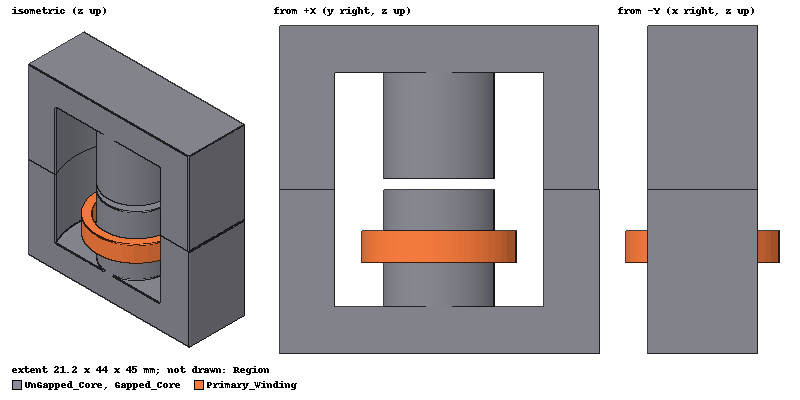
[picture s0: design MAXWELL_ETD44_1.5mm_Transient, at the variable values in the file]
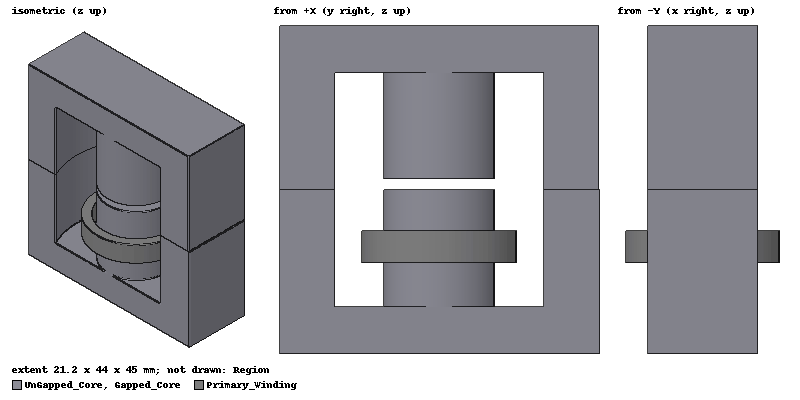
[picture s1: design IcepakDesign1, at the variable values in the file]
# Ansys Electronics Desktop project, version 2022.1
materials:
  copper: permeability=0.999991 conductivity=58000000 thermal_conductivity=400 mass_density=8933 specific_heat=385 youngs_modulus=120000000000 poissons_ratio=0.38 thermal_expansion_coefficient=1.77e-05
  ferrite_N87_ETD44: permittivity=12 permeability=1650 conductivity=0.01 thermal_conductivity=4 mass_density=4600 specific_heat=750 youngs_modulus=119000000000 thermal_expansion_coefficient=1e-05
  vacuum: permittivity=1
  Ferrite_N87_ETD45_Coreloss: permittivity=12 permeability=1650 conductivity=0.01 thermal_conductivity=4 core_loss_type="B-P Curve" mass_density=4600 specific_heat=750 youngs_modulus=119000000000 thermal_expansion_coefficient=1e-05 core_loss_equiv_cut_depth=0.001meter core_loss_curves{PUnit=kw/m^3 BUnit=mTesla Frequency=100kHz Thickness=0.5mm BPCoordinates{DimUnits("", "") Points(0, 0, 30, 2, 40, 4, 50, 8, 60, 15, 70, 20, 80, 30, 90, 40, 100, 50, 200, 300)}}
  Al-Extruded: thermal_conductivity=205 mass_density=2800 specific_heat=900 youngs_modulus=69000000000 poissons_ratio=0.33 thermal_expansion_coefficient=2.277e-06 thermal_material_type=Solid
  air: permittivity=1.0006 permeability=1.0000004 thermal_conductivity=0.0261 mass_density=1.1614 specific_heat=1005 thermal_expansion_coefficient=0.00333 thermal_material_type=Fluid diffusivity=2.88e-05 molecular_mass=0.028966 viscosity=1.84e-05 material_refractive_index=1.000293
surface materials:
  Steel-oxidised-surface: surface_emissivity=0.8

design MAXWELL_ETD44_1.5mm_Transient (Maxwell 3D, EddyCurrent, model units mm)
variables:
  gap = 0mm
  air_gap = 1.5mm
  coil_current = 276A
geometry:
  Core_A = box(corner=(0mm, 0mm, 0mm), size=(15.2mm, 44mm, 22.5mm))
  Cylinder1 = cylinder(axis=Z, base_centre=(7.6mm, 21.9mm, 6.4mm), radius=16.25mm, height=16.1mm)
  Core_A.subtract(Cylinder1)
  UnGapped_Core [Ferrite_N87_ETD45_Coreloss] = cylinder(axis=Z, base_centre=(7.6mm, 21.9mm, 0mm), radius=7.6mm, height=22.5mm)
  UnGapped_Core.unite(Core_A)
  Gapped_Core [Ferrite_N87_ETD45_Coreloss] = box(corner=(0mm, 0mm, 45mm), size=(15.2mm, 43.8mm, -22.5mm))
  Cylinder2 = cylinder(axis=Z, base_centre=(7.6mm, 21.9mm, 22.5mm), radius=16.25mm, height=16.1mm)
  Gapped_Core.subtract(Cylinder2)
  Cylinder3 = cylinder(axis=Z, base_centre=(7.6mm, 21.9mm, 45mm), radius=7.6mm, height=-22.5mm + air_gap)
  Gapped_Core.unite(Cylinder3)
  Region [air] = region(percentage_offset=100 on all sides)
  B_Area [non-model] = circle(normal=Z, centre=(7.6mm, 21.9mm, 22.5mm), radius=40mm)
  point Point1 = (7.6mm, 21.9mm, 22.5mm)
  Polyline1 [non-model] = polyline((8mm, 0mm, 22.5mm) (8mm, 44mm, 22.5mm))
  Polyline2 [non-model] = polyline((7mm, 14mm, 22.5mm) (7mm, 30mm, 22.5mm))
  Cylinder4 = cylinder(axis=Z, base_centre=(7.6mm, 21.9mm, 12.5mm), radius=8.6mm, height=10mm)
  Primary_Winding [copper] = cylinder(axis=Z, base_centre=(7.6mm, 21.9mm, 12.5mm), radius=10.6mm, height=4.375mm)
  Primary_Winding.subtract(Cylinder4)
  coordinate_system RelativeCS1 = origin=(7.6mm, 0mm, 0mm) x=(1mm, 0mm, 0mm) y=(0mm, 1mm, 0mm)
  Primary_Winding_Section1 [copper] = Primary_Winding.section(plane=YZ) in RelativeCS1
  Primary_Winding_Term2 [copper] = Primary_Winding_Section1.separate_bodies()
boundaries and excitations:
  Pri_Term1: Coil Terminal Objects=Primary_Winding_Section1 Conductor_number=69 Winding=Winding1 Point_out_of_terminal=false
  Winding1: Winding Group Type=Current IsSolid=false Current=1.74A ParallelBranchesNum=1 Phase=0deg
  eddy effects on: Primary_Winding
  core loss on: UnGapped_Core, Gapped_Core
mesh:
  initial mesh: GlobalCurvilinear{Apply}
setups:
  Setup1: EddyCurrent MaximumPasses=10 MinimumPasses=2 MinimumConvergedPasses=6 PercentRefinement=30 PercentError=1 ConstantDelta=0s NonLinearResidual=0.0001 Frequency=100kHz
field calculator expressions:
  gapped_core_coreloss = Fundamental_Quantity(47) | EnterVolume(Gapped_Core) | VolumeValue | Integrate
  ungapped_core_coreless = Fundamental_Quantity(47) | EnterVolume(UnGapped_Core) | VolumeValue | Integrate
  copper_loss = Ohmic-Loss | EnterVolume(Primary_Winding) | VolumeValue | Integrate
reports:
  Calculator Expressions Table 1: gapped_core_coreloss, ungapped_core_coreless, copper_loss vs Freq on Setup1 : LastAdaptive [Phase=0deg]

design IcepakDesign1 (Icepak, SteadyState TemperatureAndFlow, model units mm)
options: Default_Fluid_Material=air Default_Solid_Material=Al-Extruded Default_Surface_Material=Steel-oxidised-surface AmbientTemperature=20cel AmbientPressure=0n_per_meter_sq AmbientRadiationTemperature=20cel Gravity_Vector_CS_ID=Global Gravity_Vector_Axis=Z Positive=false
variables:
  air_gap = 1.5mm
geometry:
  coordinate_system RelativeCS1 = origin=(7.6mm, 0mm, 0mm) x=(1mm, 0mm, 0mm) y=(0mm, 1mm, 0mm)
  UnGapped_Core [Ferrite_N87_ETD45_Coreloss] = cylinder(axis=Z, base_centre=(7.6mm, 21.9mm, 0mm), radius=7.6mm, height=22.5mm)
  Core_A = box(corner=(0mm, 0mm, 0mm), size=(15.2mm, 44mm, 22.5mm))
  Cylinder1 = cylinder(axis=Z, base_centre=(7.6mm, 21.9mm, 6.4mm), radius=16.25mm, height=16.1mm)
  Core_A.subtract(Cylinder1)
  UnGapped_Core.unite(Core_A)
  Gapped_Core [Ferrite_N87_ETD45_Coreloss] = box(corner=(0mm, 0mm, 45mm), size=(15.2mm, 43.8mm, -22.5mm))
  Cylinder2 = cylinder(axis=Z, base_centre=(7.6mm, 21.9mm, 22.5mm), radius=16.25mm, height=16.1mm)
  Gapped_Core.subtract(Cylinder2)
  Cylinder3 = cylinder(axis=Z, base_centre=(7.6mm, 21.9mm, 45mm), radius=7.6mm, height=-22.5mm + air_gap)
  Gapped_Core.unite(Cylinder3)
  Region [air] = region(percentage_offset: +X=200, -X=200, +Y=200, -Y=200, +Z=200, -Z=100)
  Primary_Winding [copper] = cylinder(axis=Z, base_centre=(7.6mm, 21.9mm, 12.5mm), radius=10.6mm, height=4.375mm)
  Cylinder4 = cylinder(axis=Z, base_centre=(7.6mm, 21.9mm, 12.5mm), radius=8.6mm, height=10mm)
  Primary_Winding.subtract(Cylinder4)
  coordinate_system RelativeCS2 = origin=(7.6mm, 0mm, 0mm) x=(1mm, 0mm, 0mm) y=(0mm, 1mm, 0mm)
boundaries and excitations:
  Opening1: Opening Faces=Region.face(all 6) Temperature=AmbientTemp External_Rad._Temperature=AmbientRadTemp Inlet_Type=Pressure Total_Pressure=AmbientPressure
  Source1: Source Objects=Primary_Winding Thermal_Condition="Total Power" Total_Power=0.85W
  Source2: Source Objects=Gapped_Core Thermal_Condition="Total Power" Total_Power=0.06W
  Source3: Source Objects=UnGapped_Core Thermal_Condition="Total Power" Total_Power=0.1W
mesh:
  MeshRegions:  Global{MeshMethod=MesherHD ComputeGap MeshRegionResolution=3 MinGapX=1mm MinGapY=1mm MinGapZ=1mm Objects=Region FacetLevel=3 ProximitySizeFunction CurvatureSizeFunction OptimizePCBMesh}
  MeshOperations:
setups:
  Setup1: IcepakSteadyState Flow_Regime=Laminar Include_Temperature=true Include_Flow=true Include_Gravity Solution_Initialization_-_Z_Velocity=0.001m_per_sec Convergence_Criteria_-_Flow=0.001 Convergence_Criteria_-_Energy=1e-07 Convergence_Criteria_-_Discrete_Ordinates=1e-06 disabled Radiation_Model="Discrete Ordinates Model" Flow_Iteration_Per_Radiation_Iteration=5 ThetaDivision=3 PhiDivision=3 ThetaPixels=3 PhiPixels=3 Under-relaxation_-_Pressure=0.3 Under-relaxation_-_Momentum=0.7 Under-relaxation_-_Temperature=1 Discretization_Scheme_-_Pressure=Standard Discretization_Scheme_-_Momentum=First Discretization_Scheme_-_Temperature=First Discretization_Scheme_-_Discrete_Ordinates=First Convergence_Criteria_-_Max_Iterations=100
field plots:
  Temperature1: Temperature over Gapped_Core, UnGapped_Core on Setup1 : SteadyState
